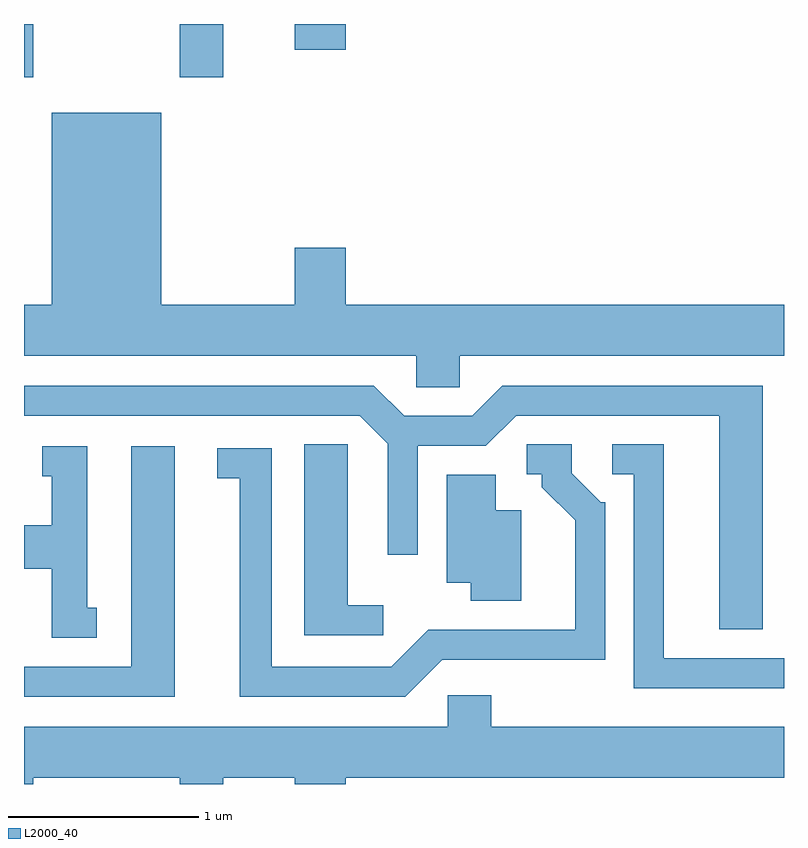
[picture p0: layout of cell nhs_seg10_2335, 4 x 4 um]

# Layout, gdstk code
import gdstk
lib = gdstk.Library(unit=1e-6, precision=1e-09)
def R(c, l, rs):  # rectangles x0, y0, x1, y1
    for r in rs: c.add(gdstk.rectangle(r[:2], r[2:], *l))
def P(c, l, *ps):  # polygons
    for p in ps: c.add(gdstk.Polygon(p, *l))
L2000_40 = (2000, 40)

nhs_seg10_2335 = lib.new_cell('nhs_seg10_2335')
R(nhs_seg10_2335, L2000_40, [(253.611,2144.241,253.659,2144.522), (254.431,2144.241,254.659,2144.522), (255.036,2144.386,255.304,2144.522)])
P(nhs_seg10_2335, L2000_40, [(255.904,2142.776),(257.611,2142.776),(257.611,2143.044),(255.304,2143.044),(255.304,2143.344),(255.036,2143.344),(255.036,2143.044),(254.334,2143.044),(254.334,2144.054),(253.756,2144.054),(253.756,2143.044),(253.611,2143.044),(253.611,2142.776),(255.676,2142.776),(255.676,2142.611),(255.904,2142.611)],
  [(257.499,2142.619),(256.129,2142.619),(255.969,2142.459),(255.612,2142.459),(255.452,2142.619),(253.611,2142.619),(253.611,2142.461),(255.379,2142.461),(255.526,2142.314),(255.526,2141.728),(255.684,2141.728),(255.684,2142.301),(256.041,2142.301),(256.202,2142.461),(257.271,2142.461),(257.271,2141.336),(257.499,2141.336)],
  [(255.812,2141.176),(256.669,2141.176),(256.669,2142.004),(256.647,2142.004),(256.494,2142.157),(256.494,2142.309),(256.258,2142.309),(256.258,2142.151),(256.336,2142.151),(256.336,2142.084),(256.511,2141.909),(256.511,2141.334),(255.739,2141.334),(255.544,2141.139),(254.914,2141.139),(254.914,2142.289),(254.628,2142.289),(254.628,2142.131),(254.746,2142.131),(254.746,2140.981),(255.617,2140.981)],
  [(257.611,2141.184),(256.979,2141.184),(256.979,2142.309),(256.707,2142.309),(256.707,2142.151),(256.821,2142.151),(256.821,2141.026),(257.611,2141.026)],
  [(255.503,2141.464),(255.314,2141.464),(255.314,2142.309),(255.086,2142.309),(255.086,2141.306),(255.503,2141.306)],
  [(253.993,2141.449),(253.944,2141.449),(253.944,2142.299),(253.708,2142.299),(253.708,2142.141),(253.756,2142.141),(253.756,2141.884),(253.611,2141.884),(253.611,2141.656),(253.756,2141.656),(253.756,2141.291),(253.993,2141.291)],
  [(254.404,2142.299),(254.176,2142.299),(254.176,2141.139),(253.611,2141.139),(253.611,2140.981),(254.404,2140.981)],
  [(256.229,2141.964),(256.094,2141.964),(256.094,2142.149),(255.836,2142.149),(255.836,2141.581),(255.961,2141.581),(255.961,2141.486),(256.229,2141.486)],
  [(253.659,2140.556),(254.431,2140.556),(254.431,2140.522),(254.659,2140.522),(254.659,2140.556),(255.036,2140.556),(255.036,2140.522),(255.304,2140.522),(255.304,2140.556),(257.611,2140.556),(257.611,2140.824),(256.069,2140.824),(256.069,2140.989),(255.841,2140.989),(255.841,2140.824),(253.611,2140.824),(253.611,2140.522),(253.659,2140.522)])

lib.write_gds('nhs_seg10_2335.gds')
